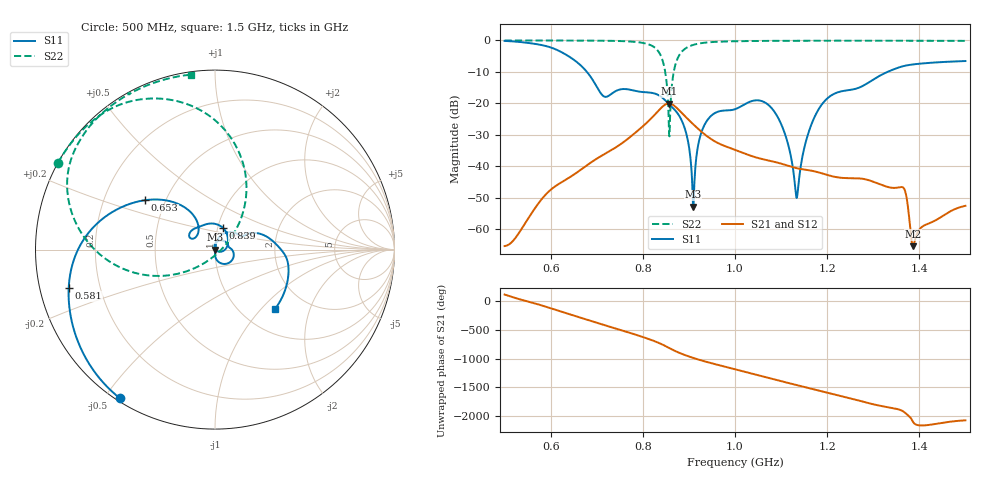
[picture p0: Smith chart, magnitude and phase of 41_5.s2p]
! TOUCHSTONE file generated by CST MICROWAVE STUDIO
! Date and time: Fri Oct  2 19:17:14 2020
! Project name: Scenario_1_Free_Space_out_of_line.cst
! Parameters = {Lambda=346.42; Step_1=17.321; dy1=-346; dx1=866; L_HA=400; MT=2.54; Rad_Dielectric=30; Rad_Lower=7.3; Rad_Upper=30; a_HA=580; a_WG=246; b_HA=500; b_WG=121; c_HA=0; c_WG=187; d_feed=85; h_feed=15; h_lower=18; h_upper=40}
! Header version: 2018
! Port assignment regex: !\s*Touchstone port\s*([0-9]+)\s*=\s*(CST MWS port|CST DS port)\s*([0-9]+|Zmin|Zmax)\s*\(\"(.*)\"\)(\s*mode\s*([0-9]+))?.*
! Touchstone port assignment:
! Touchstone port 1 = CST MWS port 1 ("")
! Touchstone port 2 = CST MWS port 2 ("")
# GHz S DB R 50
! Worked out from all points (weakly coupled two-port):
!   1003 points, 500 MHz to 1.5 GHz, reference 50 ohm
!   highest |S21| = -20.05 dB at 856 MHz (marker M1); lowest = -65.4 dB at 1.386 GHz (marker M2)
!   lowest |S11| = -52.8 dB at 909 MHz (marker M3), VSWR 1.00, Z = 50.2 + j0.0361 ohm
!   |S11| at or under -10 dB: 678.6 MHz to 1.331 GHz (652.4 MHz wide, 64.9 % of centre)
!   |S22| runs from -30.5 to 0.0 dB; largest |S21 - S12| = 8.9e-05
!   S11 on the Smith chart (normalised r, x): 500 MHz: 0.01, -0.55; 581 MHz: 0.09, -0.13; 653 MHz: 0.39, +0.27; 839 MHz: 1.06, +0.26; 1.5 GHz: 1.41, -1.20
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0.5  -0.15 -122.5  -65.35 121.0  -65.35 121.0  -0.01 151.1
0.581  -1.49 -165.3  -50.35 -70.0  -50.35 -70.0  -0.02 145.5
0.653  -6.44 144.7  -42.37 107.3  -42.37 107.3  -0.04 139.6
0.667  -8.17 135.2  -40.92 72.6  -40.92 72.6  -0.04 138.3
0.717  -17.88 140.6  -36.11 -53.3  -36.11 -53.3  -0.10 132.6
0.834  -17.37 77.4  -22.32 -0.4  -22.32 -0.4  -3.54 85.0
0.839  -17.83 69.5  -21.55 -18.1  -21.55 -18.1  -4.86 77.2
0.856  -20.14 44.1  -20.05 -86.4  -20.05 -86.4  -24.48 21.9
0.87  -22.20 23.4  -20.98 -143.3  -20.98 -143.3  -8.04 -158.7
0.891  -27.95 -15.4  -24.00 146.6  -24.00 146.6  -2.70 174.5
0.909  -52.81 9.0  -26.60 96.5  -26.60 96.5  -1.43 162.9
0.936  -26.25 72.5  -30.07 31.4  -30.07 31.4  -0.69 152.6
1  -21.86 8.3  -34.77 -103.7  -34.77 -103.7  -0.26 140.1
1.083  -22.15 -69.9  -38.49 86.1  -38.49 86.1  -0.13 131.2
1.112  -31.35 -89.6  -39.70 25.9  -39.70 25.9  -0.11 128.6
1.134  -50.06 -3.6  -40.61 -17.6  -40.61 -17.6  -0.10 126.8
1.167  -26.25 78.6  -41.43 -83.7  -41.43 -83.7  -0.10 124.1
1.208  -17.56 47.3  -43.07 -165.7  -43.07 -165.7  -0.09 121.0
1.334  -9.81 8.9  -46.66 -47.5  -46.66 -47.4  -0.09 111.4
1.367  -8.11 -4.9  -47.12 -128.1  -47.08 -127.9  -0.09 108.9
1.386  -7.63 -11.3  -65.39 64.6  -66.35 58.2  -0.10 107.4
1.5  -6.55 -44.7  -52.57 87.4  -52.46 88.0  -0.14 97.8
